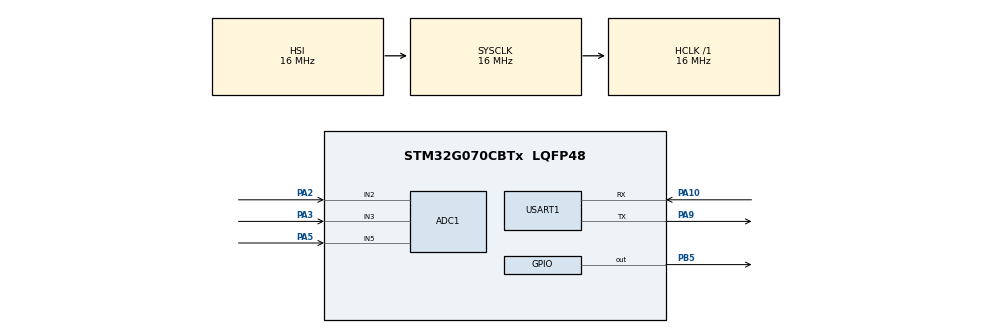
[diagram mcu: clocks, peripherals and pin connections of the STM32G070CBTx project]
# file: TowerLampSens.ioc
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ADC1.Channel-5\#ChannelRegularConversion=ADC_CHANNEL_2
ADC1.ContinuousConvMode=ENABLE
ADC1.NbrOfConversionFlag=1
ADC1.SelectedChannel=ADC_CHANNEL_2|ADC_CHANNEL_3|ADC_CHANNEL_5
ADC1.master=1
Mcu.Family=STM32G0
Mcu.Name=STM32G070CBTx
Mcu.Package=LQFP48
NVIC.USART1_IRQn=true\:0\:0\:false\:false\:true\:true\:true\:true
PA10.Mode=Asynchronous
PA10.Signal=USART1_RX
PA13.Mode=Serial_Wire
PA13.Signal=SYS_SWDIO
PA14-BOOT0.Mode=Serial_Wire
PA14-BOOT0.Signal=SYS_SWCLK
PA2.Mode=IN2
PA2.Signal=ADC1_IN2
PA3.Mode=IN3
PA3.Signal=ADC1_IN3
PA5.Mode=IN5
PA5.Signal=ADC1_IN5
PA9.Mode=Asynchronous
PA9.Signal=USART1_TX
PB5.Signal=GPIO_Output
ProjectManager.HeapSize=0x200
ProjectManager.StackSize=0x400
ProjectManager.TargetToolchain=STM32CubeIDE
RCC.ADCFreq_Value=16000000
RCC.AHBFreq_Value=16000000
RCC.CortexFreq_Value=16000000
RCC.EXTERNAL_CLOCK_VALUE=48000
RCC.HCLKFreq_Value=16000000
RCC.HSE_VALUE=8000000
RCC.HSI_VALUE=16000000
RCC.LSE_VALUE=32768
RCC.SYSCLKFreq_VALUE=16000000
RCC.VCOOutputFreq_Value=128000000
TIM16.Prescaler=79
USART1.VirtualMode-Asynchronous=VM_ASYNC
VP_TIM16_VS_ClockSourceINT.Mode=Enable_Timer
board=custom

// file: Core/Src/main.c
/* USER CODE BEGIN Header */
/**
  ******************************************************************************
  * @file           : main.c
  * @brief          : Main program body
  ******************************************************************************
  * @attention
  *
  * Copyright (c) 2022 STMicroelectronics.
  * All rights reserved.
  *
  * This software is licensed under terms that can be found in the LICENSE file
  * in the root directory of this software component.
  * If no LICENSE file comes with this software, it is provided AS-IS.
  *
  ******************************************************************************
  */
/* USER CODE END Header */
#include "main.h"

ADC_HandleTypeDef hadc1;

TIM_HandleTypeDef htim16;

UART_HandleTypeDef huart1;

void SystemClock_Config(void);
static void MX_GPIO_Init(void);
static void MX_ADC1_Init(void);
static void MX_USART1_UART_Init(void);
static void MX_TIM16_Init(void);
void clearRx(void);
void modbusTransHandle(void);
/* USER CODE BEGIN PFP */
char checkLampStatus(void);
/* USER CODE END PFP */

/* USER CODE BEGIN 0 */
#define MODBUSADD 0x01
#define ADCthreshold  2000
#define BlinkTimerthreshold  500
#define SensorType	0x01

uint16_t debug = 0;
char isBlink = 0;
char isLight = 0;
uint16_t counter = 0;
uint8_t rx_flag = 0;

uint8_t lampStatus = 0;
uint8_t whichLight = 0;
uint16_t Blink_RedAccumulateTime = 0;
uint16_t Blink_YellowAccumulateTime = 0;
uint16_t Blink_GreenAccumulateTime = 0;

#define maxRxSize 20
uint8_t rx_dataChar;
uint8_t rx_data[maxRxSize];
uint8_t rx_count = 0;

uint8_t tx_data[15];

uint8_t CRC_MODBUS(uint8_t *input, uint8_t size);
void Calc_CRC16(uint8_t *input, uint16_t size, uint8_t *output);
/* USER CODE END 0 */

int main(void)
{

  /* MCU Configuration--------------------------------------------------------*/

  /* Reset of all peripherals, Initializes the Flash interface and the Systick. */
  HAL_Init();

  /* Configure the system clock */
  SystemClock_Config();

  /* Initialize all configured peripherals */
  MX_GPIO_Init();
  MX_ADC1_Init();
  MX_USART1_UART_Init();
  MX_TIM16_Init();
  /* USER CODE BEGIN 2 */
  HAL_ADC_Start(&hadc1);
  HAL_TIM_Base_Start(&htim16);

  HAL_UART_Receive_IT(&huart1, &rx_dataChar, 1);

  /* USER CODE END 2 */

  /* Infinite loop */
  /* USER CODE BEGIN WHILE */
  while (1)
  {
	lampStatus = checkLampStatus();
	uint16_t currentCounter = __HAL_TIM_GetCounter(&htim16);
	if(lampStatus)
	{
		if(isLight == 0)
		{
			isLight = lampStatus;
			counter = __HAL_TIM_GetCounter(&htim16);
		}
		if(currentCounter - counter > BlinkTimerthreshold)
		{
			isBlink = 0;
		}
		whichLight = lampStatus;
	}
	else if(lampStatus == 0)
	{
		if(currentCounter - counter < BlinkTimerthreshold)
		{
			isBlink = 1;
			if(isLight == 1) Blink_RedAccumulateTime++;
			else if(isLight == 2) Blink_YellowAccumulateTime++;
			else if(isLight == 3) Blink_GreenAccumulateTime++;
		}
		isLight = 0;
	}
	if(rx_flag)
	{
		if(CRC_MODBUS(rx_data, 6) && rx_data[0] == MODBUSADD) modbusTransHandle();
		clearRx();
		rx_flag = 0;
	}

    /* USER CODE END WHILE */

  }
}

void SystemClock_Config(void)
{
  RCC_OscInitTypeDef RCC_OscInitStruct = {0};
  RCC_ClkInitTypeDef RCC_ClkInitStruct = {0};

  /** Configure the main internal regulator output voltage
  */
  HAL_PWREx_ControlVoltageScaling(PWR_REGULATOR_VOLTAGE_SCALE1);

  /** Initializes the RCC Oscillators according to the specified parameters
  * in the RCC_OscInitTypeDef structure.
  */
  RCC_OscInitStruct.OscillatorType = RCC_OSCILLATORTYPE_HSI;
  RCC_OscInitStruct.HSIState = RCC_HSI_ON;
  RCC_OscInitStruct.HSIDiv = RCC_HSI_DIV1;
  RCC_OscInitStruct.HSICalibrationValue = RCC_HSICALIBRATION_DEFAULT;
  RCC_OscInitStruct.PLL.PLLState = RCC_PLL_NONE;
  if (HAL_RCC_OscConfig(&RCC_OscInitStruct) != HAL_OK)
  {
    Error_Handler();
  }

  /** Initializes the CPU, AHB and APB buses clocks
  */
  RCC_ClkInitStruct.ClockType = RCC_CLOCKTYPE_HCLK|RCC_CLOCKTYPE_SYSCLK
                              |RCC_CLOCKTYPE_PCLK1;
  RCC_ClkInitStruct.SYSCLKSource = RCC_SYSCLKSOURCE_HSI;
  RCC_ClkInitStruct.AHBCLKDivider = RCC_SYSCLK_DIV1;
  RCC_ClkInitStruct.APB1CLKDivider = RCC_HCLK_DIV1;

  if (HAL_RCC_ClockConfig(&RCC_ClkInitStruct, FLASH_LATENCY_0) != HAL_OK)
  {
    Error_Handler();
  }
}

static void MX_ADC1_Init(void)
{

  ADC_ChannelConfTypeDef sConfig = {0};

  /** Configure the global features of the ADC (Clock, Resolution, Data Alignment and number of conversion)
  */
  hadc1.Instance = ADC1;
  hadc1.Init.ClockPrescaler = ADC_CLOCK_SYNC_PCLK_DIV2;
  hadc1.Init.Resolution = ADC_RESOLUTION_12B;
  hadc1.Init.DataAlign = ADC_DATAALIGN_RIGHT;
  hadc1.Init.ScanConvMode = ADC_SCAN_DISABLE;
  hadc1.Init.EOCSelection = ADC_EOC_SINGLE_CONV;
  hadc1.Init.LowPowerAutoWait = DISABLE;
  hadc1.Init.LowPowerAutoPowerOff = DISABLE;
  hadc1.Init.ContinuousConvMode = ENABLE;
  hadc1.Init.NbrOfConversion = 1;
  hadc1.Init.ExternalTrigConv = ADC_SOFTWARE_START;
  hadc1.Init.ExternalTrigConvEdge = ADC_EXTERNALTRIGCONVEDGE_NONE;
  hadc1.Init.DMAContinuousRequests = DISABLE;
  hadc1.Init.Overrun = ADC_OVR_DATA_PRESERVED;
  hadc1.Init.SamplingTimeCommon1 = ADC_SAMPLETIME_1CYCLE_5;
  hadc1.Init.SamplingTimeCommon2 = ADC_SAMPLETIME_1CYCLE_5;
  hadc1.Init.OversamplingMode = DISABLE;
  hadc1.Init.TriggerFrequencyMode = ADC_TRIGGER_FREQ_HIGH;
  if (HAL_ADC_Init(&hadc1) != HAL_OK)
  {
    Error_Handler();
  }

  /** Configure Regular Channel
  */
  sConfig.Channel = ADC_CHANNEL_3;
  sConfig.Rank = ADC_REGULAR_RANK_1;
  sConfig.SamplingTime = ADC_SAMPLINGTIME_COMMON_1;
  if (HAL_ADC_ConfigChannel(&hadc1, &sConfig) != HAL_OK)
  {
    Error_Handler();
  }

}

static void MX_TIM16_Init(void)
{

  htim16.Instance = TIM16;
  htim16.Init.Prescaler = 64000;
  htim16.Init.CounterMode = TIM_COUNTERMODE_UP;
  htim16.Init.Period = 65535;
  htim16.Init.ClockDivision = TIM_CLOCKDIVISION_DIV1;
  htim16.Init.RepetitionCounter = 0;
  htim16.Init.AutoReloadPreload = TIM_AUTORELOAD_PRELOAD_DISABLE;
  if (HAL_TIM_Base_Init(&htim16) != HAL_OK)
  {
    Error_Handler();
  }

}

static void MX_USART1_UART_Init(void)
{

  huart1.Instance = USART1;
  huart1.Init.BaudRate = 115200;
  huart1.Init.WordLength = UART_WORDLENGTH_8B;
  huart1.Init.StopBits = UART_STOPBITS_1;
  huart1.Init.Parity = UART_PARITY_NONE;
  huart1.Init.Mode = UART_MODE_TX_RX;
  huart1.Init.HwFlowCtl = UART_HWCONTROL_NONE;
  huart1.Init.OverSampling = UART_OVERSAMPLING_16;
  huart1.Init.OneBitSampling = UART_ONE_BIT_SAMPLE_DISABLE;
  huart1.Init.ClockPrescaler = UART_PRESCALER_DIV1;
  huart1.AdvancedInit.AdvFeatureInit = UART_ADVFEATURE_NO_INIT;
  if (HAL_UART_Init(&huart1) != HAL_OK)
  {
    Error_Handler();
  }
  if (HAL_UARTEx_SetTxFifoThreshold(&huart1, UART_TXFIFO_THRESHOLD_1_8) != HAL_OK)
  {
    Error_Handler();
  }
  if (HAL_UARTEx_SetRxFifoThreshold(&huart1, UART_RXFIFO_THRESHOLD_1_8) != HAL_OK)
  {
    Error_Handler();
  }
  if (HAL_UARTEx_DisableFifoMode(&huart1) != HAL_OK)
  {
    Error_Handler();
  }

}

static void MX_GPIO_Init(void)
{
  GPIO_InitTypeDef GPIO_InitStruct = {0};

  /* GPIO Ports Clock Enable */
  __HAL_RCC_GPIOA_CLK_ENABLE();
  __HAL_RCC_GPIOB_CLK_ENABLE();

  /*Configure GPIO pin Output Level */
  HAL_GPIO_WritePin(GPIOB, GPIO_PIN_5, GPIO_PIN_RESET);

  /*Configure GPIO pin : PB5 */
  GPIO_InitStruct.Pin = GPIO_PIN_5;
  GPIO_InitStruct.Mode = GPIO_MODE_OUTPUT_PP;
  GPIO_InitStruct.Pull = GPIO_NOPULL;
  GPIO_InitStruct.Speed = GPIO_SPEED_FREQ_LOW;
  HAL_GPIO_Init(GPIOB, &GPIO_InitStruct);

}

/* USER CODE BEGIN 4 */
char checkLampStatus(void)
{
  ADC_ChannelConfTypeDef sConfigPrivate = {0};
  uint16_t DCValue[3];

  sConfigPrivate.Channel = ADC_CHANNEL_3;
  HAL_ADC_ConfigChannel(&hadc1, &sConfigPrivate);
  HAL_ADC_Start(&hadc1);
  HAL_ADC_PollForConversion(&hadc1,1000);
  DCValue[0] = HAL_ADC_GetValue(&hadc1);
  HAL_ADC_Stop(&hadc1);

  sConfigPrivate.Channel = ADC_CHANNEL_4;
  HAL_ADC_ConfigChannel(&hadc1, &sConfigPrivate);
  HAL_ADC_Start(&hadc1);
  HAL_ADC_PollForConversion(&hadc1,1000);
  DCValue[1] = HAL_ADC_GetValue(&hadc1);
  HAL_ADC_Stop(&hadc1);

  sConfigPrivate.Channel = ADC_CHANNEL_5;
  HAL_ADC_ConfigChannel(&hadc1, &sConfigPrivate);
  HAL_ADC_Start(&hadc1);
  HAL_ADC_PollForConversion(&hadc1,1000);
  DCValue[2] = HAL_ADC_GetValue(&hadc1);
  HAL_ADC_Stop(&hadc1);

  //check which is highest value
  uint16_t max = 0;
  char maxPos = 0;
  for(char i = 0; i < 3; i++)
  {
    if(DCValue[i] > max)
    {
      max = DCValue[i];
      maxPos = i + 1;
    }
  }
  //check if that is no light (all off)
  if(max < ADCthreshold) // fix here
  {
    maxPos = 0;
  }
  return maxPos;

}

void HAL_UART_RxCpltCallback(UART_HandleTypeDef *huart){
    if(huart->Instance == USART1){
        HAL_UART_Receive_IT(&huart1, &rx_dataChar, 1);
        rx_data[rx_count] = rx_dataChar;
        rx_count++;
        if(rx_count >= 6) rx_flag = 1;
    }
}
void clearRx (void)
{
	for(uint8_t i = 0; i < maxRxSize; i++)
	{
		rx_data[i] = '\0';
	}
	rx_count = 0;
}
uint8_t CRC_MODBUS(uint8_t *input, uint8_t size)
{
  uint16_t check_sum[2];
  uint16_t reg_crc = 0xFFFF;

	for(uint8_t i = 0; i < size; i++) {
		reg_crc ^= input[i];

		for(uint8_t j = 0; j < 8; j++) {
			if((reg_crc & 0x01) == 1) reg_crc = (reg_crc >> 1) ^ 0xA001;
			else reg_crc = reg_crc >> 1;
		}

		check_sum[1] = (reg_crc >> 8) &0xFF;
		check_sum[0] = reg_crc & 0xFF;

		if(input[i + 1] == check_sum[0] && input[i + 2] == check_sum[1]) return i + 3;
	}
	return 0;
}
void Calc_CRC16(uint8_t *input, uint16_t size, uint8_t *output)
{
  uint16_t reg_crc = 0xFFFF;

  for(uint16_t i = 0; i < size; i++)
  {
    reg_crc ^= input[i];
    for(uint8_t j = 0; j < 8; j++)
    {
      if((reg_crc & 0x01) == 1) reg_crc = (reg_crc >> 1) ^ 0xA001;
      else reg_crc = reg_crc >> 1;
    }
  }

  output[1] = (reg_crc >> 8) &0xFF;
  output[0] = reg_crc & 0xFF;
}

void modbusTransHandle(void){
	uint8_t CRCbuff[2];

	tx_data[0] = MODBUSADD;
	tx_data[1] = 0x04;
	tx_data[2] = 0x0A;
	tx_data[3] = SensorType;
	tx_data[4] = isBlink;
	tx_data[5] = lampStatus;
	tx_data[6] = whichLight;
	tx_data[7] = Blink_RedAccumulateTime >> 8;
	tx_data[8] = Blink_RedAccumulateTime;
	tx_data[9] = Blink_YellowAccumulateTime >> 8;
	tx_data[10] = Blink_YellowAccumulateTime;
	tx_data[11] = Blink_GreenAccumulateTime >> 8;
	tx_data[12] = Blink_GreenAccumulateTime;

	Calc_CRC16(tx_data, 13, CRCbuff);
	tx_data[13] = CRCbuff[0];
	tx_data[14] = CRCbuff[1];

	HAL_UART_Transmit(&huart1,&tx_data,sizeof(tx_data), 100);
}
/* USER CODE END 4 */

void Error_Handler(void)
{
  __disable_irq();
  while (1)
  {
  }
}
